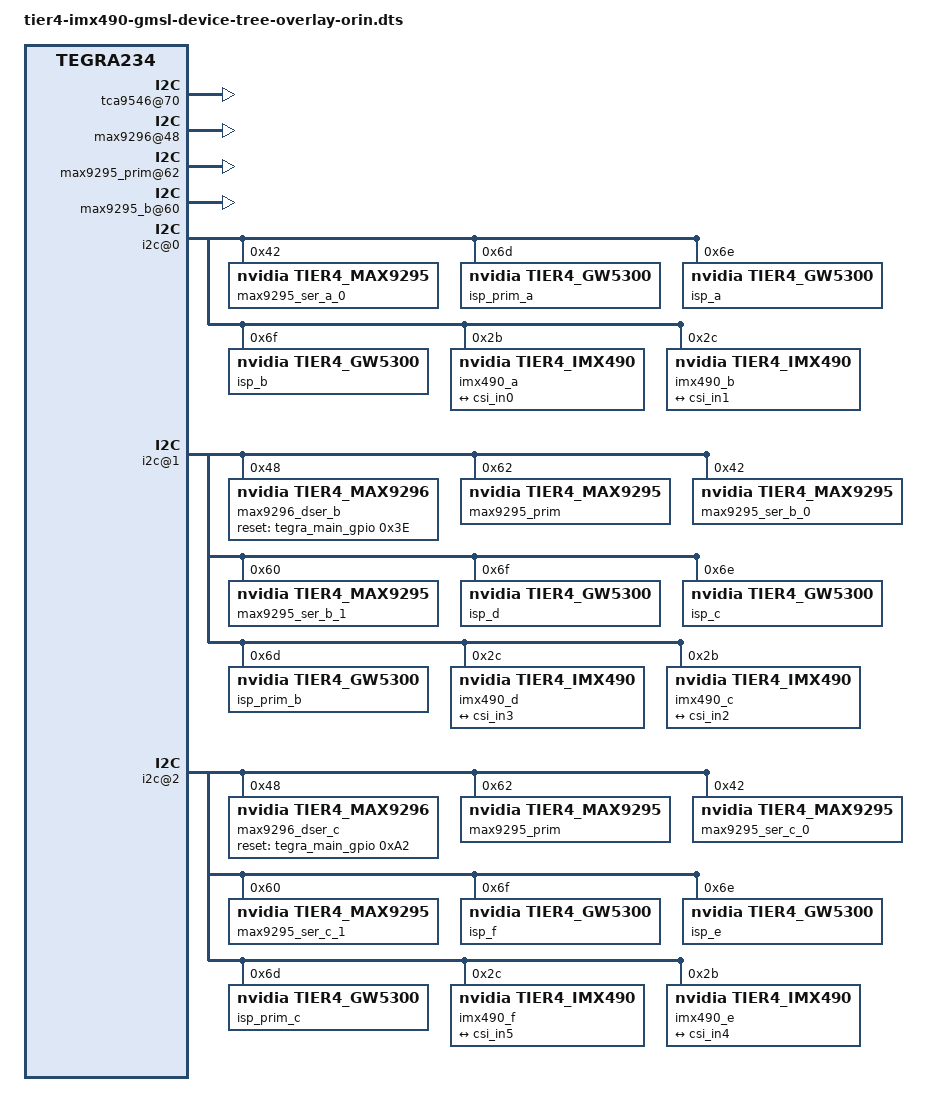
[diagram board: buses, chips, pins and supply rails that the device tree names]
/dts-v1/;
/plugin/;


//CAM0_RST_L 7 * 8 + 3, 0x3B
//CAM0_PWDN 7 * 8 + 6, 0x3E
//CAMERA_I2C_MUX_BUS 0x1E + x
//GPIO_ACTIVE_HIGH 0
//CAM1_RST_L 20 * 8 + 1, 0xA1

/ {
  overlay-name = "TIERIV IMX490 GMSL2 Camera Device Tree Overlay";
  jetson-header-name = "Jetson AGX CSI Connector";
  compatible = "nvidia,p3737-0000+p3701-0000", "nvidia,tegra234", "nvidia,tegra23x";

fragment@0{
    target-path = "/tegra-capture-vi";
    __overlay__ {
      num-channels = <6>;
    };
  };

  //diff view    
fragment@1{
    target-path = "/tegra-capture-vi/ports/port@0";
    __overlay__ {
      status = "okay";
    };
  };

fragment@2{
    target-path = "/tegra-capture-vi/ports/port@0/endpoint";
    __overlay__ {
      status = "okay";
      port-index = <0>;
      vc-id = <0>;
      bus-width = <4>;
    };
  };

fragment@3{
    target-path = "/tegra-capture-vi/ports/port@1";
    __overlay__ {
      status = "okay";
    };
  };

fragment@4{
    target-path = "/tegra-capture-vi/ports/port@1/endpoint";
    __overlay__ {
      status = "okay";
      port-index = <0>;
      vc-id = <1>;
      bus-width = <4>;
    };
  };
  
fragment@5{
    target-path = "/tegra-capture-vi/ports/port@2";
    __overlay__ {
      status = "okay";
    
  };
  };
  
fragment@6{
    target-path = "/tegra-capture-vi/ports/port@2/endpoint";
    __overlay__ {
      status = "okay";
      vc-id = <0>;
      port-index = <2>;
      bus-width = <4>;
    };
  };
  
fragment@7{
    target-path = "/tegra-capture-vi/ports/port@3";
    __overlay__ {
      status = "okay";
    };
  };
  
fragment@8{
    target-path = "/tegra-capture-vi/ports/port@3/endpoint";
    __overlay__ {
      status = "okay";
      vc-id = <1>;
      port-index = <2>;
      bus-width = <4>;
    };
  };

fragment@9{
    target-path = "/tegra-capture-vi/ports/port@4";
    __overlay__ {
      status = "okay";
    
  };
  };
  
fragment@10{
    target-path = "/tegra-capture-vi/ports/port@4/endpoint";
    __overlay__ {
      status = "okay";
      vc-id = <0>;
      port-index = <4>;
      bus-width = <4>;
    };
  };

fragment@11{
    target-path = "/tegra-capture-vi/ports/port@5";
    __overlay__ {
      status = "okay";
    
    };
  };
  
fragment@12{
    target-path = "/tegra-capture-vi/ports/port@5/endpoint";
    __overlay__ {
      status = "okay";
      vc-id = <1>;
      port-index = <4>;
      bus-width = <4>;
    };
  };

/**********************/


fragment@13{
    target-path = "/host1x@13e00000/nvcsi@15a00000/channel@0";
    __overlay__ {
      status = "okay";
    };
  };
fragment@14{
    target-path = "/host1x@13e00000/nvcsi@15a00000/channel@0/ports/port@0";
    __overlay__ {
      status = "okay";
    };
  };
fragment@15{
    // target = csi_in0
    target-path = "/host1x@13e00000/nvcsi@15a00000/channel@0/ports/port@0/endpoint@0";
    __overlay__ {
      status = "okay";
      port-index = <0x00>;
      bus-width = <4>;
      remote-endpoint = <&imx490_out0>;
    };
  };

fragment@16{
    target-path = "/host1x@13e00000/nvcsi@15a00000/channel@0/ports/port@1";
    __overlay__ {
      status = "okay";
    };
  };

fragment@17{
    // target = csi_out0
    target-path = "/host1x@13e00000/nvcsi@15a00000/channel@0/ports/port@1/endpoint@1";
    __overlay__ {
      status = "okay";
      remote-endpoint = <&vi_in0>;
    };
  };

  // channel@1
fragment@18{
    target-path = "/host1x@13e00000/nvcsi@15a00000/channel@1";
    __overlay__ {
      status = "okay";
    };
  };
fragment@19{
    target-path = "/host1x@13e00000/nvcsi@15a00000/channel@1/ports/port@0";
    __overlay__ {
      status = "okay";
    };
  };
fragment@20{
    // target = csi_in1
    target-path = "/host1x@13e00000/nvcsi@15a00000/channel@1/ports/port@0/endpoint@2";
    __overlay__ {
      status = "okay";
      port-index = <0x00>;
      bus-width = <0x04>;
      remote-endpoint = <&imx490_out1>;
    };
  };

fragment@21{
    target-path = "/host1x@13e00000/nvcsi@15a00000/channel@1/ports/port@1";
    __overlay__ {
      status = "okay";
    };
  };

fragment@22{
    // target = csi_out1
    target-path = "/host1x@13e00000/nvcsi@15a00000/channel@1/ports/port@1/endpoint@3";
    __overlay__ {
      status = "okay";
      remote-endpoint = <&vi_in1>;
    };
  };

  // channel@2
fragment@23{
    target-path = "/host1x@13e00000/nvcsi@15a00000/channel@2";
    __overlay__ {
      status = "okay";
    };
  };
fragment@24{
    target-path = "/host1x@13e00000/nvcsi@15a00000/channel@2/ports/port@0";
    __overlay__ {
      status = "okay";
    };
  };
fragment@25{
    // target = csi_in0
    target-path = "/host1x@13e00000/nvcsi@15a00000/channel@2/ports/port@0/endpoint@4";
    __overlay__ {
      status = "okay";
      port-index = <2>;
      bus-width = <4>;
      remote-endpoint = <&imx490_out2>;
    };
  };

fragment@26{
    target-path = "/host1x@13e00000/nvcsi@15a00000/channel@2/ports/port@1";
    __overlay__ {
      status = "okay";
    };
  };

fragment@27{
    // target = csi_out0
    target-path = "/host1x@13e00000/nvcsi@15a00000/channel@2/ports/port@1/endpoint@5";
    __overlay__ {
      status = "okay";
      remote-endpoint = <&vi_in2>;
    };
  };

  // channel@3
fragment@28{
    target-path = "/host1x@13e00000/nvcsi@15a00000/channel@3";
    __overlay__ {
      status = "okay";
    };
  };
fragment@29{
    target-path = "/host1x@13e00000/nvcsi@15a00000/channel@3/ports/port@0";
    __overlay__ {
      status = "okay";
    };
  };
fragment@30{
    // target = csi_in0
    target-path = "/host1x@13e00000/nvcsi@15a00000/channel@3/ports/port@0/endpoint@6";
    __overlay__ {
      status = "okay";
      port-index = <2>;
      bus-width = <4>;
      remote-endpoint = <&imx490_out3>;
    };
  };

fragment@31{
    target-path = "/host1x@13e00000/nvcsi@15a00000/channel@3/ports/port@1";
    __overlay__ {
      status = "okay";
    };
  };

fragment@32{
    // target = csi_out0
    target-path = "/host1x@13e00000/nvcsi@15a00000/channel@3/ports/port@1/endpoint@7";
    __overlay__ {
      status = "okay";
      remote-endpoint = <&vi_in3>;
    };
  };

  // channel@6-7
fragment@33{
    target-path = "/host1x@13e00000/nvcsi@15a00000";
    __overlay__ {
      num-channels = <6>;
    };
  };

  // channel@4
fragment@34{
    target-path = "/host1x@13e00000/nvcsi@15a00000/channel@4";
    __overlay__ {
      status = "okay";
    };
  };
fragment@35{
    target-path = "/host1x@13e00000/nvcsi@15a00000/channel@4/ports/port@0";
    __overlay__ {
      status = "okay";
    };
  };
fragment@36{
    // target = csi_in4
    target-path = "/host1x@13e00000/nvcsi@15a00000/channel@4/ports/port@0/endpoint@8";
    __overlay__ {
      status = "okay";
      port-index = <4>;
      bus-width = <4>;
      remote-endpoint = <&imx490_out4>;
    };
  };

fragment@37{
    target-path = "/host1x@13e00000/nvcsi@15a00000/channel@4/ports/port@1";
    __overlay__ {
      status = "okay";
    };
  };

fragment@38{
    // target = csi_out4
    target-path = "/host1x@13e00000/nvcsi@15a00000/channel@4/ports/port@1/endpoint@9";
    __overlay__ {
      status = "okay";
      remote-endpoint = <&vi_in4>;
    };
  };

  // channel@5
fragment@39{
    target-path = "/host1x@13e00000/nvcsi@15a00000/channel@5";
    __overlay__ {
      status = "okay";
    };
  };
fragment@40{
    target-path = "/host1x@13e00000/nvcsi@15a00000/channel@5/ports/port@0";
    __overlay__ {
      status = "okay";
    };
  };
fragment@41{
    // target = csi_in5
    target-path = "/host1x@13e00000/nvcsi@15a00000/channel@5/ports/port@0/endpoint@10";
    __overlay__ {
      status = "okay";
      port-index = <4>;
      bus-width = <4>;
      remote-endpoint = <&imx490_out5>;
    };
  };

fragment@42{
    target-path = "/host1x@13e00000/nvcsi@15a00000/channel@5/ports/port@1";
    __overlay__ {
      status = "okay";
    };
  };

fragment@43{
    // target = csi_out5
    target-path = "/host1x@13e00000/nvcsi@15a00000/channel@5/ports/port@1/endpoint@11";
    __overlay__ {
      status = "okay";
      remote-endpoint = <&vi_in5>;
    };
  };

  ////////////////////////////////////
fragment@44{
    //tcp
    target-path = "/tegra-camera-platform";
    __overlay__ {
      num_csi_lanes = <0x04>;
      max_lane_speed = <4000000>;
    };
  };




fragment@45{
    target-path = "/tegra-camera-platform/modules/module0";
    __overlay__ {
      badge = "imx490_rear";
      position = "rear";
      orientation = "1";
      status = "okay";
    };
  };

fragment@46{
    target-path = "/tegra-camera-platform/modules/module0/drivernode0";
    __overlay__ {
      status = "okay";
      pcl_id = "v4l2_sensor";
      devname = "imx490 30-002b";
      proc-device-tree = "/proc/device-tree/i2c@3180000/tca9546@70/i2c@0/imx490_a@2b";
    };
  };

fragment@47{
    target-path = "/tegra-camera-platform/modules/module1";
    __overlay__ {
      badge = "imx490_front";
      position = "front";
      orientation = "1";
      status = "okay";
    };
  };

fragment@48{
    target-path = "/tegra-camera-platform/modules/module1/drivernode0";
    __overlay__ {
      status = "okay";
      pcl_id = "v4l2_sensor";
      devname = "imx490 30-002c";
      proc-device-tree = "/proc/device-tree/i2c@3180000/tca9546@70/i2c@0/imx490_b@2c";
    };
  };

fragment@49{
    target-path = "/tegra-camera-platform/modules/module2";
    __overlay__ {
      badge = "imx490_topright";
      position = "topright";
      orientation = "1";
      status = "okay";
    };
  };

fragment@50{
    target-path = "/tegra-camera-platform/modules/module2/drivernode0";
    __overlay__ {
      status = "okay";
      pcl_id = "v4l2_sensor";
      devname = "imx490 31-002b";
      proc-device-tree = "/proc/device-tree/i2c@3180000/tca9546@70/i2c@1/imx490_c@2b";
    };
  };

fragment@51{
    target-path = "/tegra-camera-platform/modules/module3";
    __overlay__ {
      badge = "mx490_bottomright";
      position = "bottomright";
      orientation = "1";
      status = "okay";
    };
  };

fragment@52{
    target-path = "/tegra-camera-platform/modules/module3/drivernode0";
    __overlay__ {
      status = "okay";
      pcl_id = "v4l2_sensor";
      devname = "imx490 31-002c";
      proc-device-tree = "/proc/device-tree/i2c@3180000/tca9546@70/i2c@1/imx490_d@2c";
    };
  };

fragment@53{
    target-path = "/tegra-camera-platform/modules/module4";
    __overlay__ {
      badge = "imx490_topleft";
      position = "topleft";
      orientation = "1";
      status = "okay";
    };
  };

fragment@54{
    target-path = "/tegra-camera-platform/modules/module4/drivernode0";
    __overlay__ {
      status = "okay";
      pcl_id = "v4l2_sensor";
      devname = "imx490 32-002b";
      proc-device-tree = "/proc/device-tree/i2c@3180000/tca9546@70/i2c@2/imx490_e@2b";
    };
  };

fragment@55{
    target-path = "/tegra-camera-platform/modules/module5";
    __overlay__ {
      badge = "imx490_centerright";
      position = "centerright";
      orientation = "1";
      status = "okay";
    };
  };

fragment@56{
    target-path = "/tegra-camera-platform/modules/module5/drivernode0";
    __overlay__ {
      status = "okay";
      pcl_id = "v4l2_sensor";
      devname = "imx490 32-002c";
      proc-device-tree = "/proc/device-tree/i2c@3180000/tca9546@70/i2c@2/imx490_f@2c";
    };
  };

  // cam
fragment@57{
    //cami2c/i2c@0
    target-path = "/i2c@3180000/tca9546@70";
    __overlay__ {
      status = "okay";
    };
  };

fragment@58{
    //cami2c/i2c@0
    target-path = "/i2c@3180000/tca9546@70/i2c@0/max9296@48";
    __overlay__ {
      status = "okay";
     compatible = "nvidia,tier4_max9296";
    };
  };

fragment@59{
    //cami2c/i2c@0
    target-path = "/i2c@3180000/tca9546@70/i2c@0/max9295_prim@62";
    __overlay__ {
      status = "okay";
      compatible = "nvidia,tier4_max9295";
    };
  };

fragment@60{
    //cami2c/i2c@0
    target-path = "/i2c@3180000/tca9546@70/i2c@0/max9295_b@60";
    __overlay__ {
      status = "okay";
      compatible = "nvidia,tier4_max9295";
      nvidia,gmsl-dser-device = <&dser>;
    };
  };

fragment@61{
    //cami2c/i2c@0
    target-path = "/i2c@3180000/tca9546@70/i2c@0";
    __overlay__ {
      reg = <0>;
      i2c-mux,deselect-on-exit;
      #address-cells = <0x01>;
      #size-cells = <0x00>;

      max9295_ser_a_0: max9295_a@42 {
        compatible = "nvidia,tier4_max9295";
        status = "okay";
        reg = <0x42>;
        nvidia,gmsl-dser-device = <&max9296_dser>;
      };
   
      isp_prim_a: gw5300_prim@6d {
        compatible = "nvidia,tier4_gw5300";
        status = "okay";
        reg = <0x6d>;
        is-prim-isp;
      };
      isp_a: gw5300_a@6e {
        compatible = "nvidia,tier4_gw5300";
        status = "okay";
        reg = <0x6e>;
      };
      isp_b: gw5300_b@6f {
        compatible = "nvidia,tier4_gw5300";
         status = "okay";
         reg = <0x6f>;
      };


      imx490_a@2b {
        status = "okay";
        def-addr = <0x1a>;
        mclk = "extperiph1";
        clocks = <&bpmp 36U>, <&bpmp 36U>;
        clock-names = "extperiph1", "pllp_grtba";
        nvidia,isp-device = <&isp_a>;           // for C2 camera
        nvidia,gmsl-ser-device = <&max9295_ser_a_0>;
        nvidia,gmsl-dser-device = <&max9296_dser>;

        // common modul;e
        compatible = "nvidia,tier4_imx490";
        reg = <0x2b>;

        /* Physical dimensions of sensor */
        physical_w = "15.0";
        physical_h = "12.5";
        reg_mux = <0>;
        sensor_model ="imx490";

        fsync-mode = "false";

        distortion-correction = "false";

        auto-exposure = "true";

        /* Defines number of frames to be dropped by driver internally after applying */
        /* sensor crop settings. Some sensors send corrupt frames after applying */
        /* crop co-ordinates */
        post_crop_frame_drop = "0";

        /* Convert Gain to unit of dB (decibel) befor passing to kernel driver */
        use_decibel_gain = "true";

        /* enable CID_SENSOR_MODE_ID for sensor modes selection */
        use_sensor_mode_id = "true";

        mode0 {
          /*mode imx490_MODE_1920X1860_CROP_30FPS*/
          mclk_khz = "24000";
          num_lanes = "4";
          tegra_sinterface = "serial_a";
          vc_id = "0";
          discontinuous_clk = "no";
          dpcm_enable = "false";
          cil_settletime = "0";
          dynamic_pixel_bit_depth = "16";
          csi_pixel_bit_depth = "16";
          mode_type = "yuv";
          pixel_phase = "uyvy";

          active_w = "2880";
          active_h = "1860";
          readout_orientation = "0";
          line_length = "2250";
          inherent_gain = "1";

          pix_clk_hz = "757"; //not use
//          serdes_pix_clk_hz =  "237500000";
          serdes_pix_clk_hz =  "375000000";

          gain_factor = "10";
          min_gain_val = "0";                       /* dB */
          max_gain_val = "300";                         /* dB */
          step_gain_val = "3";                      /* 0.3 */
          default_gain = "0";
          min_hdr_ratio = "1";
          max_hdr_ratio = "1";
          framerate_factor = "1000000";
          min_framerate = "30000000";
          max_framerate = "30000000";
          step_framerate = "1";
          default_framerate = "30000000";
          exposure_factor = "1000000";
          min_exp_time = "24";                      /* us 1 line */
          max_exp_time = "33333";
          step_exp_time = "1";
          default_exp_time = "33333";                   /* us */
          embedded_metadata_height = "0";
        };
        ports {
          #address-cells = <1>;
          #size-cells = <0>;
          port@0 {
            reg = <0>;
            imx490_out0: endpoint {
              vc-id = <0>;
              port-index = <0>;
              bus-width = <4>;
              remote-endpoint = <&csi_in0>;
            };
          };
        };

        gmsl-link {
          src-csi-port = "b";           /* Port at which sensor is connected to its serializer device. */
          dst-csi-port = "a";           /* Destination CSI port on the Jetson side, connected at deserializer. */
          serdes-csi-link = "a";        /* GMSL link sensor/serializer connected */
          csi-mode = "1x4";             /*  to sensor CSI mode. */
          st-vc = <0>;                  /* Sensor source default VC ID: 0 unless overridden by sensor. */
          vc-id = <0>;                  /* Destination VC ID, assigned to sensor stream by deserializer. */
          num-lanes=<4>;                /* Number of CSI lanes used. */
          streams = "ued-u1", "yuv8";   /* Types of streams sensor is streaming. */
        };
      };

      imx490_b@2c {
        status = "okay";
        def-addr = <0x1a>;
        /* Define any required hw resources needed by driver */
        /* ie. clocks, io pins, power sources */
        clocks = <&bpmp 36U>, <&bpmp 36U>;
        clock-names = "extperiph1", "pllp_grtba";
        mclk = "extperiph1";
        nvidia,isp-device = <&isp_b>;           // for C2 camera
        nvidia,gmsl-ser-device = <&max9295_ser1>;
        nvidia,gmsl-dser-device = <&max9296_dser>;

        compatible = "nvidia,tier4_imx490";
        reg = <0x2c>;

        /* Physical dimensions of sensor */
        physical_w = "15.0";
        physical_h = "12.5";
        reg_mux = <0>;
        sensor_model ="imx490";

        fsync-mode = "false";

        distortion-correction = "false";

        auto-exposure = "true";

        /* Defines number of frames to be dropped by driver internally after applying */
        /* sensor crop settings. Some sensors send corrupt frames after applying */
        /* crop co-ordinates */
        post_crop_frame_drop = "0";

        /* Convert Gain to unit of dB (decibel) befor passing to kernel driver */
        use_decibel_gain = "true";

        /* enable CID_SENSOR_MODE_ID for sensor modes selection */
        use_sensor_mode_id = "true";

        mode0 {
          /*mode imx490_MODE_2880X1860_CROP_30FPS*/
          mclk_khz = "24000";
          num_lanes = "4";
          tegra_sinterface = "serial_b";
          vc_id = "1";
          discontinuous_clk = "no";
          dpcm_enable = "false";
          cil_settletime = "0";
          dynamic_pixel_bit_depth = "16";
          csi_pixel_bit_depth = "16";
          mode_type = "yuv";
          pixel_phase = "uyvy";

          active_w = "2880";
          active_h = "1860";
          readout_orientation = "0";
          line_length = "2250";
          inherent_gain = "1";

          pix_clk_hz = "757"; //not use
//          serdes_pix_clk_hz =  "237500000";
          serdes_pix_clk_hz =  "375000000";
          
          gain_factor = "10";
          min_gain_val = "0";                           /* dB */
          max_gain_val = "300";                             /* dB */
          step_gain_val = "3";                          /* 0.3 */
          default_gain = "0";
          min_hdr_ratio = "1";
          max_hdr_ratio = "1";
          framerate_factor = "1000000";
          min_framerate = "30000000";
          max_framerate = "30000000";
          step_framerate = "1";
          default_framerate = "30000000";
          exposure_factor = "1000000";
          min_exp_time = "24";                          /* us 1 line */
          max_exp_time = "33333";
          step_exp_time = "1";
          default_exp_time = "33333";                       /* us */
          embedded_metadata_height = "0";
        };
        ports {
          #address-cells = <1>;
          #size-cells = <0>;
          port@0 {
            reg = <0>;
            imx490_out1: endpoint {
              vc-id = <1>;
              port-index = <0>;
              bus-width = <4>;
              remote-endpoint = <&csi_in1>;
            };
          };
        };
        gmsl-link {
          src-csi-port = "b";
          dst-csi-port = "a";
          serdes-csi-link = "b";
          csi-mode = "1x4";
          st-vc = <0>;
          vc-id = <1>;
          num-lanes=<4>;
          streams = "ued-u1","yuv8";
        };
      };
    };
  };

fragment@62{
    //target-path = "/i2c@3180000/tca9546@70";
    target= <&tca9546_70>;
    __overlay__ {
      i2c@1 {
        reg = <1>;
        i2c-mux,deselect-on-exit;
        #address-cells = <0x01>;
        #size-cells = <0x00>;

        max9296_dser_b: max9296@48 {
          compatible = "nvidia,tier4_max9296";
          status = "okay";
          reg = <0x48>;
          csi-mode = "2x4";
          max-src = <2>;
          //reset-gpios = <&tegra_main_gpio CAM0_PWDN GPIO_ACTIVE_HIGH>;
          reset-gpios = <&tegra_main_gpio 0x3E 0x0>;
        };
        max9295_prim@62 {
          compatible = "nvidia,tier4_max9295";
          status = "okay";
          reg = <0x62>;
          is-prim-ser;
        };
        max9295_ser_b_0: max9295_a@42 {
          compatible = "nvidia,tier4_max9295";
          status = "okay";
          reg = <0x42>;
          nvidia,gmsl-dser-device = <&max9296_dser_b>;
        };
        max9295_ser_b_1: max9295_b@60 {
          compatible = "nvidia,tier4_max9295";
          status = "okay";
          reg = <0x60>;
          nvidia,gmsl-dser-device = <&max9296_dser_b>;
        };
        isp_d: gw5300_b@6f {
          compatible = "nvidia,tier4_gw5300";
          status = "okay";
          reg = <0x6f>;
        };
        isp_c: gw5300_a@6e {
          compatible = "nvidia,tier4_gw5300";
          status = "okay";
          reg = <0x6e>;
        };
        isp_prim_b: gw5300_prim@6d {
          compatible = "nvidia,tier4_gw5300";
          status = "okay";
          reg = <0x6d>;
          is-prim-isp;
        };
  
        imx490_d@2c {
          compatible = "nvidia,tier4_imx490";
          reg = <0x2c>;
          status = "okay";

          def-addr = <0x1a>;
          /* Define any required hw resources needed by driver */
          /* ie. clocks, io pins, power sources */
          clocks = <&bpmp 36U>,
          <&bpmp 36U>;
          clock-names = "extperiph1", "pllp_grtba";
          mclk = "extperiph1";
          nvidia,isp-device = <&isp_d>;           // for C2 camera
          nvidia,gmsl-ser-device = <&max9295_ser_b_1>;
          nvidia,gmsl-dser-device = <&max9296_dser_b>;

          /* Physical dimensions of sensor */
          physical_w = "15.0";
          physical_h = "12.5";
          reg_mux = <1>;
          sensor_model ="imx490";

          fsync-mode = "false";

          distortion-correction = "false";

          auto-exposure = "true";

          /* Defines number of frames to be dropped by driver internally after applying */
          /* sensor crop settings. Some sensors send corrupt frames after applying */
          /* crop co-ordinates */
          post_crop_frame_drop = "0";

          /* Convert Gain to unit of dB (decibel) befor passing to kernel driver */
          use_decibel_gain = "true";

          /* enable CID_SENSOR_MODE_ID for sensor modes selection */
          use_sensor_mode_id = "true";

          mode0 {
            /*mode imx490_MODE_2880X1860_CROP_30FPS*/
            mclk_khz = "24000";
            num_lanes = "4";
            tegra_sinterface = "serial_d";
            vc_id = "1";
            discontinuous_clk = "no";
            dpcm_enable = "false";
            cil_settletime = "0";
            dynamic_pixel_bit_depth = "16";
            csi_pixel_bit_depth = "16";
            mode_type = "yuv";
            pixel_phase = "uyvy";

            active_w = "2880";
            active_h = "1860";
            readout_orientation = "0";
            line_length = "2250";
            inherent_gain = "1";
            
            pix_clk_hz = "757"; //not use
//            serdes_pix_clk_hz =  "237500000";
            serdes_pix_clk_hz =  "375000000";

            gain_factor = "10";
            min_gain_val = "0"; /* dB */
            max_gain_val = "300"; /* dB */
            step_gain_val = "3"; /* 0.3 */
            default_gain = "0";
            min_hdr_ratio = "1";
            max_hdr_ratio = "1";
            framerate_factor = "1000000";
            min_framerate = "30000000";
            max_framerate = "30000000";
            step_framerate = "1";
            default_framerate = "30000000";
            exposure_factor = "1000000";
            min_exp_time = "24"; /* us 1 line */
            max_exp_time = "33333";
            step_exp_time = "1";
            default_exp_time = "33333";/* us */
            embedded_metadata_height = "0";
          };

          ports {
            #address-cells = <1>;
            #size-cells = <0>;
            port@0 {
              reg = <0>;
              imx490_out3: endpoint {
                vc-id = <1>;
                port-index = <2>;
                bus-width = <4>;
                remote-endpoint = <&csi_in3>;
              };
            };
          };
          gmsl-link {
            src-csi-port = "b";
            dst-csi-port = "a";
            serdes-csi-link = "b";
            csi-mode = "1x4";
            st-vc = <0>;
            vc-id = <1>;
            num-lanes=<4>;
            streams = "ued-u1","yuv8";
          };
        };
      
        imx490_c@2b {
          status = "okay";
          def-addr = <0x1a>;
          mclk = "extperiph1";
          clocks = <&bpmp 36U>, <&bpmp 36U>;
          clock-names = "extperiph1", "pllp_grtba";
          nvidia,isp-device = <&isp_c>;           // for C2 camera
          nvidia,gmsl-ser-device = <&max9295_ser_b_0>;
          nvidia,gmsl-dser-device = <&max9296_dser_b>;

          // common modul;e
          compatible = "nvidia,tier4_imx490";
          reg = <0x2b>;

          /* Physical dimensions of sensor */
          physical_w = "15.0";
          physical_h = "12.5";
          reg_mux = <1>;
          sensor_model ="imx490";

          fsync-mode = "false";

          distortion-correction = "false";

          auto-exposure = "true";

          /* Defines number of frames to be dropped by driver internally after applying */
          /* sensor crop settings. Some sensors send corrupt frames after applying */
          /* crop co-ordinates */
          post_crop_frame_drop = "0";

          /* Convert Gain to unit of dB (decibel) befor passing to kernel driver */
          use_decibel_gain = "true";

          /* enable CID_SENSOR_MODE_ID for sensor modes selection */
          use_sensor_mode_id = "true";

          mode0 {
            /*mode imx490_MODE_1920X1860_CROP_30FPS*/
            mclk_khz = "24000";
            num_lanes = "4";
            tegra_sinterface = "serial_c";
            vc_id = "0";
            discontinuous_clk = "no";
            dpcm_enable = "false";
            cil_settletime = "0";
            dynamic_pixel_bit_depth = "16";
            csi_pixel_bit_depth = "16";
            mode_type = "yuv";
            pixel_phase = "uyvy";

            active_w = "2880";
            active_h = "1860";
            readout_orientation = "0";
            line_length = "2250";
            inherent_gain = "1";

            pix_clk_hz = "757"; //not use
//            serdes_pix_clk_hz =  "237500000";
            serdes_pix_clk_hz =  "375000000";

            gain_factor = "10";
            min_gain_val = "0";                         /* dB */
            max_gain_val = "300";                       /* dB */
            step_gain_val = "3";                        /* 0.3 */
            default_gain = "0";
            min_hdr_ratio = "1";
            max_hdr_ratio = "1";
            framerate_factor = "1000000";
            min_framerate = "30000000";
            max_framerate = "30000000";
            step_framerate = "1";
            default_framerate = "30000000";
            exposure_factor = "1000000";
            min_exp_time = "24";                        /* us 1 line */
            max_exp_time = "33333";
            step_exp_time = "1";
            default_exp_time = "33333";                 /* us */
            embedded_metadata_height = "0";
          };
          ports {
            #address-cells = <1>;
            #size-cells = <0>;
            port@0 {
              reg = <0>;
              imx490_out2: endpoint {
                vc-id = <0>;
                port-index = <2>;
                bus-width = <4>;
                remote-endpoint = <&csi_in2>;
              };
            };
          };

          gmsl-link {
            src-csi-port = "b";         /* Port at which sensor is connected to its serializer device. */
            dst-csi-port = "a";         /* Destination CSI port on the Jetson side, connected at deserializer. */
            serdes-csi-link = "a";      /* GMSL link sensor/serializer connected */
            csi-mode = "1x4";           /*  to sensor CSI mode. */
            st-vc = <0>;                /* Sensor source default VC ID: 0 unless overridden by sensor. */
            vc-id = <0>;                /* Destination VC ID, assigned to sensor stream by deserializer. */
            num-lanes=<4>;              /* Number of CSI lanes used. */
            streams = "ued-u1", "yuv8"; /* Types of streams sensor is streaming. */
          };
      };
      };
    };
  };

fragment@63{
    //target-path = "/i2c@3180000/tca9546@70";
    target= <&tca9546_70>;
    __overlay__ {
      i2c@2 {
        reg = <2>;
        i2c-mux,deselect-on-exit;
        #address-cells = <0x01>;
        #size-cells = <0x00>;

        max9296_dser_c: max9296@48 {
          compatible = "nvidia,tier4_max9296";
          status = "okay";
          reg = <0x48>;
          csi-mode = "2x4";
          max-src = <2>;
          //reset-gpios = <&tegra_main_gpio CAM0_PWDN GPIO_ACTIVE_HIGH>;
          reset-gpios = <&tegra_main_gpio 0xA2 0x0>;
        };
        max9295_prim@62 {
          compatible = "nvidia,tier4_max9295";
          status = "okay";
          reg = <0x62>;
          is-prim-ser;
        };
        max9295_ser_c_0: max9295_a@42 {
          compatible = "nvidia,tier4_max9295";
          status = "okay";
          reg = <0x42>;
          nvidia,gmsl-dser-device = <&max9296_dser_c>;
        };
        max9295_ser_c_1: max9295_b@60 {
          compatible = "nvidia,tier4_max9295";
          status = "okay";
          reg = <0x60>;
          nvidia,gmsl-dser-device = <&max9296_dser_c>;
        };
        isp_f: gw5300_b@6f {
          compatible = "nvidia,tier4_gw5300";
          status = "okay";
          reg = <0x6f>;
        };
        isp_e: gw5300_a@6e {
          compatible = "nvidia,tier4_gw5300";
          status = "okay";
          reg = <0x6e>;
        };
        isp_prim_c: gw5300_prim@6d {
          compatible = "nvidia,tier4_gw5300";
          status = "okay";
          reg = <0x6d>;
          is-prim-isp;
        };
  
        imx490_f@2c {
          compatible = "nvidia,tier4_imx490";
          reg = <0x2c>;
          status = "okay";

          def-addr = <0x1a>;
          /* Define any required hw resources needed by driver */
          /* ie. clocks, io pins, power sources */
          clocks = <&bpmp 36U>,
          <&bpmp 36U>;
          clock-names = "extperiph1", "pllp_grtba";
          mclk = "extperiph1";
          nvidia,isp-device = <&isp_f>;           // for C2 camera
          nvidia,gmsl-ser-device = <&max9295_ser_c_1>;
          nvidia,gmsl-dser-device = <&max9296_dser_c>;

          /* Physical dimensions of sensor */
          physical_w = "15.0";
          physical_h = "12.5";
          reg_mux = <2>;
          sensor_model ="imx490";

          fsync-mode = "false";

          distortion-correction = "false";

          auto-exposure = "true";

          /* Defines number of frames to be dropped by driver internally after applying */
          /* sensor crop settings. Some sensors send corrupt frames after applying */
          /* crop co-ordinates */
          post_crop_frame_drop = "0";

          /* Convert Gain to unit of dB (decibel) befor passing to kernel driver */
          use_decibel_gain = "true";

          /* enable CID_SENSOR_MODE_ID for sensor modes selection */
          use_sensor_mode_id = "true";

          mode0 {
            /*mode imx490_MODE_2880X1860_CROP_30FPS*/
            mclk_khz = "24000";
            num_lanes = "4";
            tegra_sinterface = "serial_d";
            vc_id = "1";
            discontinuous_clk = "no";
            dpcm_enable = "false";
            cil_settletime = "0";
            dynamic_pixel_bit_depth = "16";
            csi_pixel_bit_depth = "16";
            mode_type = "yuv";
            pixel_phase = "uyvy";

            active_w = "2880";
            active_h = "1860";
            readout_orientation = "0";
            line_length = "2250";
            inherent_gain = "1";
            
            pix_clk_hz = "757"; //not use
//            serdes_pix_clk_hz =  "237500000";
            serdes_pix_clk_hz =  "375000000";

            gain_factor = "10";
            min_gain_val = "0"; /* dB */
            max_gain_val = "300"; /* dB */
            step_gain_val = "3"; /* 0.3 */
            default_gain = "0";
            min_hdr_ratio = "1";
            max_hdr_ratio = "1";
            framerate_factor = "1000000";
            min_framerate = "30000000";
            max_framerate = "30000000";
            step_framerate = "1";
            default_framerate = "30000000";
            exposure_factor = "1000000";
            min_exp_time = "24"; /* us 1 line */
            max_exp_time = "33333";
            step_exp_time = "1";
            default_exp_time = "33333";/* us */
            embedded_metadata_height = "0";
          };

          ports {
            #address-cells = <1>;
            #size-cells = <0>;
            port@0 {
              reg = <0>;
              imx490_out5: endpoint {
                vc-id = <1>;
                port-index = <4>;
                bus-width = <4>;
                remote-endpoint = <&csi_in5>;
              };
            };
          };
          gmsl-link {
            src-csi-port = "b";
            dst-csi-port = "a";
            serdes-csi-link = "b";
            csi-mode = "1x4";
            st-vc = <0>;
            vc-id = <1>;
            num-lanes=<4>;
            streams = "ued-u1","yuv8";
          };
        };
      
        imx490_e@2b {
          status = "okay";
          def-addr = <0x1a>;
          mclk = "extperiph1";
          clocks = <&bpmp 36U>, <&bpmp 36U>;
          clock-names = "extperiph1", "pllp_grtba";
          nvidia,isp-device = <&isp_e>;           // for C2 camera
          nvidia,gmsl-ser-device = <&max9295_ser_c_0>;
          nvidia,gmsl-dser-device = <&max9296_dser_c>;

          // common modul;e
          compatible = "nvidia,tier4_imx490";
          reg = <0x2b>;

          /* Physical dimensions of sensor */
          physical_w = "15.0";
          physical_h = "12.5";
          reg_mux = <2>;
          sensor_model ="imx490";

          fsync-mode = "false";

          distortion-correction = "false";

          auto-exposure = "true";

          /* Defines number of frames to be dropped by driver internally after applying */
          /* sensor crop settings. Some sensors send corrupt frames after applying */
          /* crop co-ordinates */
          post_crop_frame_drop = "0";

          /* Convert Gain to unit of dB (decibel) befor passing to kernel driver */
          use_decibel_gain = "true";

          /* enable CID_SENSOR_MODE_ID for sensor modes selection */
          use_sensor_mode_id = "true";

          mode0 {
            /*mode imx490_MODE_1920X1860_CROP_30FPS*/
            mclk_khz = "24000";
            num_lanes = "4";
            tegra_sinterface = "serial_c";
            vc_id = "0";
            discontinuous_clk = "no";
            dpcm_enable = "false";
            cil_settletime = "0";
            dynamic_pixel_bit_depth = "16";
            csi_pixel_bit_depth = "16";
            mode_type = "yuv";
            pixel_phase = "uyvy";

            active_w = "2880";
            active_h = "1860";
            readout_orientation = "0";
            line_length = "2250";
            inherent_gain = "1";

            pix_clk_hz = "757"; //not use
//          serdes_pix_clk_hz =  "237500000";
            serdes_pix_clk_hz =  "375000000";

            gain_factor = "10";
            min_gain_val = "0";                         /* dB */
            max_gain_val = "300";                       /* dB */
            step_gain_val = "3";                        /* 0.3 */
            default_gain = "0";
            min_hdr_ratio = "1";
            max_hdr_ratio = "1";
            framerate_factor = "1000000";
            min_framerate = "30000000";
            max_framerate = "30000000";
            step_framerate = "1";
            default_framerate = "30000000";
            exposure_factor = "1000000";
            min_exp_time = "24";                        /* us 1 line */
            max_exp_time = "33333";
            step_exp_time = "1";
            default_exp_time = "33333";                 /* us */
            embedded_metadata_height = "0";
          };
          ports {
            #address-cells = <1>;
            #size-cells = <0>;
            port@0 {
              reg = <0>;
              imx490_out4: endpoint {
                vc-id = <0>;
                port-index = <4>;
                bus-width = <4>;
                remote-endpoint = <&csi_in4>;
              };
            };
          };

          gmsl-link {
            src-csi-port = "b";         /* Port at which sensor is connected to its serializer device. */
            dst-csi-port = "a";         /* Destination CSI port on the Jetson side, connected at deserializer. */
            serdes-csi-link = "a";      /* GMSL link sensor/serializer connected */
            csi-mode = "1x4";           /*  to sensor CSI mode. */
            st-vc = <0>;                /* Sensor source default VC ID: 0 unless overridden by sensor. */
            vc-id = <0>;                /* Destination VC ID, assigned to sensor stream by deserializer. */
            num-lanes=<4>;              /* Number of CSI lanes used. */
            streams = "ued-u1", "yuv8"; /* Types of streams sensor is streaming. */
          };
      };
      };
    };
  };
};
